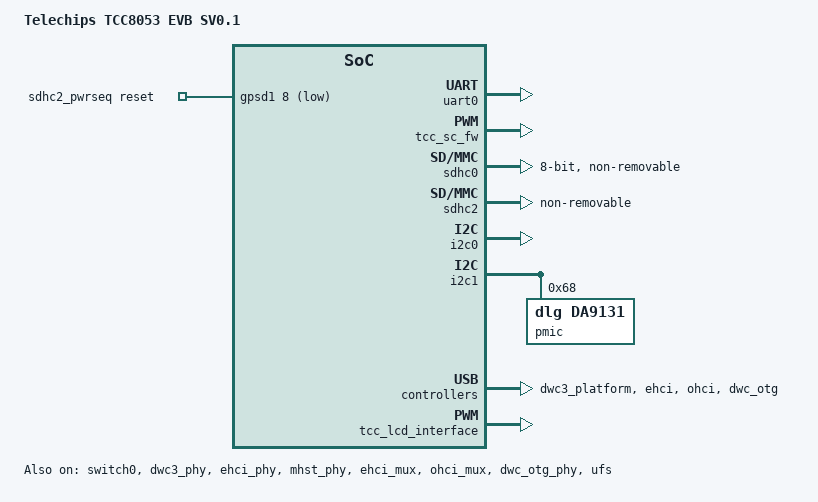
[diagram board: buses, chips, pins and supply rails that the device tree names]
// SPDX-License-Identifier: (GPL-2.0-or-later OR MIT)
/*
 * Copyright (C) Telechips Inc.
 */

/dts-v1/;

#include "tcc805x.dtsi"
#include "tcc8050_53-pinctrl.dtsi"

/ {
	model = "Telechips TCC8053 EVB SV0.1";
	board-id = <TCC_BOARD_ID_TCC8053_EVB>;
	board-rev = <0x0>;
	interrupt-parent = <&gic0>;

	sdhc2_pwrseq: sdhc2_pwrseq {
		compatible = "mmc-pwrseq-simple";
		reset-gpios = <&gpsd1 8 GPIO_ACTIVE_LOW>;
	};
};

&chosen {
	stdout-path = &uart0;
};

&cpus {
	cpu@0 {
		status = "okay";
	};
};

&gic0 {
	status = "okay";
};

&uart0 {
	pinctrl-names = "default";
	pinctrl-0 = <&uart18_data>;
	status = "okay";
	u-boot,dm-pre-reloc;
};

&mbox0 {
	status = "okay";
	u-boot,dm-pre-reloc;
};

&tcc_sc_fw {
	status = "okay";
	mboxes = <&mbox0 0>;
	u-boot,dm-pre-reloc;

	tcc_sc_mmc {
		status = "okay";
		u-boot,dm-pre-reloc;
	};
};

/* eMMC */
&sdhc0 {
	pinctrl-names = "default";
	pinctrl-0 = <&sd0_clk>, <&sd0_cmd>, <&sd0_bus8>, <&sd0_strb>;
	bus-width = <8>;
	status = "okay";

	tcc-mmc-taps = <0xF 0xF 0xF 0xF>;
	tcc-mmc-hs400-pos-tap = <0x6>;
	tcc-mmc-hs400-neg-tap = <0xB>;

	non-removable;
	mmc-hs200-1_8v;
	mmc-hs400-1_8v;
};

/* SD Slot */
&sdhc2 {
	pinctrl-names = "default";
	pinctrl-0 = <&sd2_clk>, <&sd2_cmd>, <&sd2_bus4>;
	status = "okay";

	mmc-pwrseq = <&sdhc2_pwrseq>;

	non-removable;
};

&i2c0 {
	pinctrl-names = "default";
	pinctrl-0 = <&i2c37_bus>;
	port-mux = <37>;
	status = "okay";
};

&i2c1 {
	pinctrl-names = "default";
	pinctrl-0 = <&i2c22_bus>;
	port-mux = <22>;
	status = "okay";

	pmic: da9131 {
		compatible	= "dlg,da9131";
		reg		= <0x68>;
	};
};

&i2c7 {
	pinctrl-names = "default";
	pinctrl-0 = <&i2c12_bus>;
	port-mux = <12>;
	status = "disabled";

	videosource0: videodecoder_adv7182 {
		compatible	= "analogdevices,adv7182";
		pinctrl-names	= "idle", "active";
		pinctrl-0	= <&cam0_idle>;
		pinctrl-1	= <&cam0_rst &cam0_clk &cam0_hsync &cam0_vsync
				   &cam0_fld &cam0_de &cam0_data>;
		rst-gpios	= <&gpb 14 GPIO_ACTIVE_HIGH>;
		reg		= <0x21>;	// 0x42 >> 1
		cifport		= <0>;
	};
#if 1
	videosource2: deserializer_max9276 {
		compatible	= "maxim,max9276";
		pinctrl-names	= "idle", "active";
		pinctrl-0	= <&cam0_idle>;
		pinctrl-1	= <&cam0_rst &cam0_clk &cam0_hsync &cam0_vsync
				   &cam0_fld &cam0_de &cam0_data>;
		rst-gpios	= <&gpb 14 GPIO_ACTIVE_HIGH>;
		reg		= <0x4A>;	// 0x94 >> 1
		cifport		= <0>;
	};
#else
	videosource2: deserializer_max9276 {
		compatible	= "maxim,max9276";
		pinctrl-names	= "idle", "active";
		pinctrl-0	= <&cam1_idle>;
		pinctrl-1	= <&cam1_rst &cam1_clk &cam1_hsync &cam1_vsync
				   &cam1_fld &cam1_de &cam1_data>;
		rst-gpios	= <&gpma 21 GPIO_ACTIVE_HIGH>;
		reg		= <0x4A>;	// 0x94 >> 1
		cifport		= <1>;
	};
#endif
};

&switch0 {
	status = "okay";

	pinctrl-names = "default";
	pinctrl-0 = <&switch_mb23>;

	switch-gpios = <&gpmb 23 1>;
	switch-active = <1>;
};

&dwc3_phy {
	status = "okay";
};

&dwc3_platform {
	status = "okay";
};

&dwc3 {
	pinctrl-names = "vbus_on", "vbus_off";
	pinctrl-0 = <&usb30_vbus_pwr_ctrl_on_sv01>;
	pinctrl-1 = <&usb30_vbus_pwr_ctrl_off_sv01>;
};

&ehci_phy {
	status = "okay";
};

&mhst_phy {
	status = "okay";
};

&ehci {
	pinctrl-names = "vbus_on", "vbus_off";
	pinctrl-0 = <&usb20_vbus_pwr_ctrl_on_sv01>;
	pinctrl-1 = <&usb20_vbus_pwr_ctrl_off_sv01>;
	status = "okay";
};

&ehci_mux {
	pinctrl-names = "vbus_on", "vbus_off";
	pinctrl-0 = <&usb20_mux_vbus_pwr_ctrl_on_sv01>;
	pinctrl-1 = <&usb20_mux_vbus_pwr_ctrl_off_sv01>;
	status = "okay";
};

&ohci {
	status = "okay";
};

&ohci_mux {
	status = "okay";
};

&dwc_otg_phy {
	status = "okay";
};

&dwc_otg {
	pinctrl-names = "vbus_on", "vbus_off";
	pinctrl-0 = <&usb20_mux_vbus_pwr_ctrl_on_sv01>;
	pinctrl-1 = <&usb20_mux_vbus_pwr_ctrl_off_sv01>;
	status= "okay";
};

&tcc_lcd_interface{
	board-type = <1>;
	status = "okay";
};

&ufs{
	status = "okay";
};
